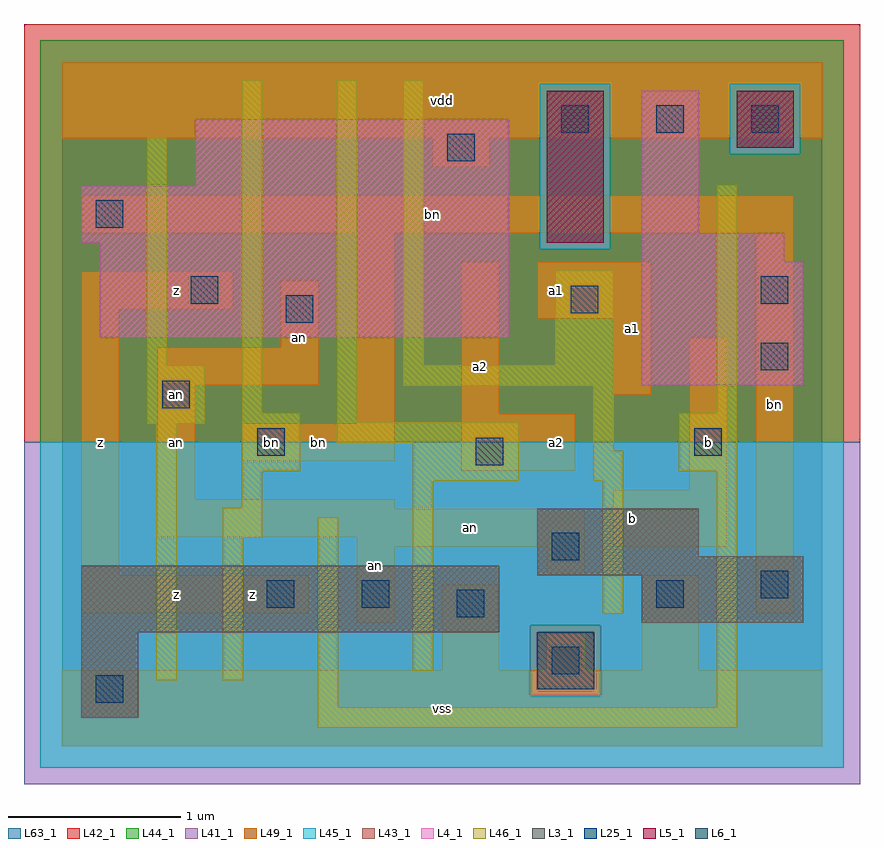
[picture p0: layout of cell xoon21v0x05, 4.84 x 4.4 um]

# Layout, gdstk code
import gdstk
lib = gdstk.Library(unit=1e-6, precision=1e-09)
def R(c, l, rs):  # rectangles x0, y0, x1, y1
    for r in rs: c.add(gdstk.rectangle(r[:2], r[2:], *l))
def A(c, l, x, y, w, h, nx, ny, dx, dy):  # array of equal rectangles
    R(c, l, [(x+i*dx, y+j*dy, x+i*dx+w, y+j*dy+h) for i in range(nx) for j in range(ny)])
L3_1 = (3, 1)
L4_1 = (4, 1)
L5_1 = (5, 1)
L6_1 = (6, 1)
L25_1 = (25, 1)
L41_1 = (41, 1)
L42_1 = (42, 1)
L43_1 = (43, 1)
L44_1 = (44, 1)
L45_1 = (45, 1)
L46_1 = (46, 1)
L49_1 = (49, 1)
L63_1 = (63, 1)

xoon21v0x05 = lib.new_cell('xoon21v0x05')
R(xoon21v0x05, L3_1, [(0.11,0.165,0.44,0.66), (0.11,0.66,2.53,1.045), (3.355,0.715,4.29,0.99), (2.75,0.99,4.29,1.1), (2.75,1.1,3.685,1.375)])
R(xoon21v0x05, L4_1, [(3.355,2.09,4.29,2.805), (0.22,2.365,2.585,2.915), (3.355,2.805,4.18,2.97), (0.11,2.915,2.585,3.245), (3.355,2.97,3.685,3.795), (0.77,3.245,2.585,3.63)])
R(xoon21v0x05, L5_1, [(2.805,2.915,3.135,3.795), (3.905,3.465,4.235,3.795)])
R(xoon21v0x05, L6_1, [(2.75,0.33,3.08,0.66)])
A(xoon21v0x05, L25_1, 2.89, 3.55, 0.16, 0.16, 3, 1, 0.55, 0)
R(xoon21v0x05, L25_1, [(0.195,0.25,0.355,0.41), (2.835,0.415,2.995,0.575), (2.285,0.745,2.445,0.905), (1.185,0.8,1.345,0.96), (1.735,0.8,1.895,0.96), (3.44,0.8,3.6,0.96), (4.045,0.855,4.205,1.015), (2.835,1.075,2.995,1.235), (2.395,1.625,2.555,1.785), (1.13,1.68,1.29,1.84), (3.66,1.68,3.82,1.84), (0.58,1.955,0.74,2.115), (4.045,2.175,4.205,2.335), (1.295,2.45,1.455,2.61), (2.945,2.505,3.105,2.665), (0.745,2.56,0.905,2.72), (4.045,2.56,4.205,2.72), (0.195,3,0.355,3.16), (2.23,3.385,2.39,3.545)])
R(xoon21v0x05, L41_1, [(-0.22,-0.22,4.62,1.76)])
R(xoon21v0x05, L42_1, [(-0.22,1.76,4.62,4.18)])
R(xoon21v0x05, L43_1, [(0.11,0.165,0.44,0.66), (2.75,0.33,3.08,0.66), (0.11,0.66,2.53,1.045), (3.355,0.715,4.29,0.99), (2.75,0.99,4.29,1.1), (2.75,1.1,3.685,1.375), (3.355,2.09,4.29,2.805), (0.22,2.365,2.585,2.915), (3.355,2.805,4.18,2.97), (0.11,2.915,2.585,3.245), (2.805,2.915,3.135,3.795), (3.355,2.97,3.685,3.795), (0.77,3.245,2.585,3.63), (3.905,3.465,4.235,3.795)])
R(xoon21v0x05, L44_1, [(2.71,0.29,3.12,0.7), (-0.125,1.76,4.525,2.875), (-0.125,2.875,2.765,3.835), (3.175,2.875,4.525,3.425), (3.175,3.425,3.865,3.835), (4.275,3.425,4.525,3.835), (-0.125,3.835,4.525,4.085)])
R(xoon21v0x05, L45_1, [(-0.125,-0.125,4.525,0.29), (-0.125,0.29,2.71,0.7), (3.12,0.29,4.525,0.7), (-0.125,0.7,4.525,1.76), (2.765,2.875,3.175,3.835), (3.865,3.425,4.275,3.835)])
R(xoon21v0x05, L46_1, [(1.48,0.105,3.91,0.225), (1.48,0.225,1.6,1.325), (3.79,0.225,3.91,1.59), (0.545,0.38,0.665,1.865), (0.93,0.38,1.05,1.205), (2.03,0.435,2.15,1.535), (3.13,0.765,3.25,1.535), (0.93,1.205,1.16,1.38), (1.04,1.38,1.16,1.59), (2.03,1.535,2.645,1.755), (3.075,1.535,3.25,1.71), (1.04,1.59,1.38,1.93), (3.57,1.59,3.91,1.93), (3.075,1.71,3.195,2.085), (1.59,1.755,2.645,1.875), (0.49,1.865,0.83,2.205), (1.59,1.875,1.71,3.855), (1.04,1.93,1.16,3.855), (3.79,1.93,3.91,3.25), (1.975,2.085,3.195,2.205), (0.49,2.205,0.61,3.525), (1.975,2.205,2.095,3.855), (2.855,2.205,3.195,2.755)])
R(xoon21v0x05, L49_1, [(0,0,4.4,0.44), (2.2,0.44,2.53,0.935), (2.805,0.44,3.025,0.66), (3.355,0.44,3.685,0.99), (1.705,0.715,1.925,1.155), (0.11,0.77,1.43,0.99), (4.015,0.77,4.235,2.97), (0.11,0.99,0.33,2.53), (2.805,0.99,3.025,1.155), (1.705,1.155,3.025,1.21), (3.19,1.155,3.85,1.485), (0.55,1.21,3.025,1.375), (0.55,1.375,1.925,1.43), (0.55,1.43,0.77,2.09), (3.63,1.485,3.85,2.365), (2.31,1.595,2.97,1.925), (1.045,1.65,1.925,1.87), (1.705,1.87,1.925,2.97), (2.31,1.925,2.53,2.805), (3.19,2.035,3.41,2.475), (0.55,2.09,1.485,2.31), (1.265,2.31,1.485,2.695), (2.75,2.475,3.41,2.805), (0.11,2.53,0.99,2.75), (0.11,2.97,4.235,3.19), (2.145,3.355,2.475,3.52), (0,3.52,4.4,3.96)])
R(xoon21v0x05, L63_1, [(0,0,4.4,3.96)])
xoon21v0x05.add(gdstk.Label('an', (0.66,2.035), layer=49, texttype=1))
xoon21v0x05.add(gdstk.Label('bn', (1.21,1.76), layer=49, texttype=1))
xoon21v0x05.add(gdstk.Label('z', (0.66,0.88), layer=49, texttype=1))
xoon21v0x05.add(gdstk.Label('z', (0.22,1.76), layer=49, texttype=1))
xoon21v0x05.add(gdstk.Label('an', (0.66,1.76), layer=49, texttype=1))
xoon21v0x05.add(gdstk.Label('z', (0.66,2.64), layer=49, texttype=1))
xoon21v0x05.add(gdstk.Label('an', (1.815,1.045), layer=49, texttype=1))
xoon21v0x05.add(gdstk.Label('z', (1.1,0.88), layer=49, texttype=1))
xoon21v0x05.add(gdstk.Label('bn', (1.485,1.76), layer=49, texttype=1))
xoon21v0x05.add(gdstk.Label('an', (1.375,2.365), layer=49, texttype=1))
xoon21v0x05.add(gdstk.Label('vss', (2.2,0.22), layer=49, texttype=1))
xoon21v0x05.add(gdstk.Label('an', (2.365,1.265), layer=49, texttype=1))
xoon21v0x05.add(gdstk.Label('a2', (2.86,1.76), layer=49, texttype=1))
xoon21v0x05.add(gdstk.Label('a2', (2.42,2.2), layer=49, texttype=1))
xoon21v0x05.add(gdstk.Label('a1', (2.86,2.64), layer=49, texttype=1))
xoon21v0x05.add(gdstk.Label('vdd', (2.2,3.74), layer=49, texttype=1))
xoon21v0x05.add(gdstk.Label('b', (3.3,1.32), layer=49, texttype=1))
xoon21v0x05.add(gdstk.Label('b', (3.74,1.76), layer=49, texttype=1))
xoon21v0x05.add(gdstk.Label('a1', (3.3,2.42), layer=49, texttype=1))
xoon21v0x05.add(gdstk.Label('bn', (2.145,3.08), layer=49, texttype=1))
xoon21v0x05.add(gdstk.Label('bn', (4.125,1.98), layer=49, texttype=1))

lib.write_gds('xoon21v0x05.gds')
